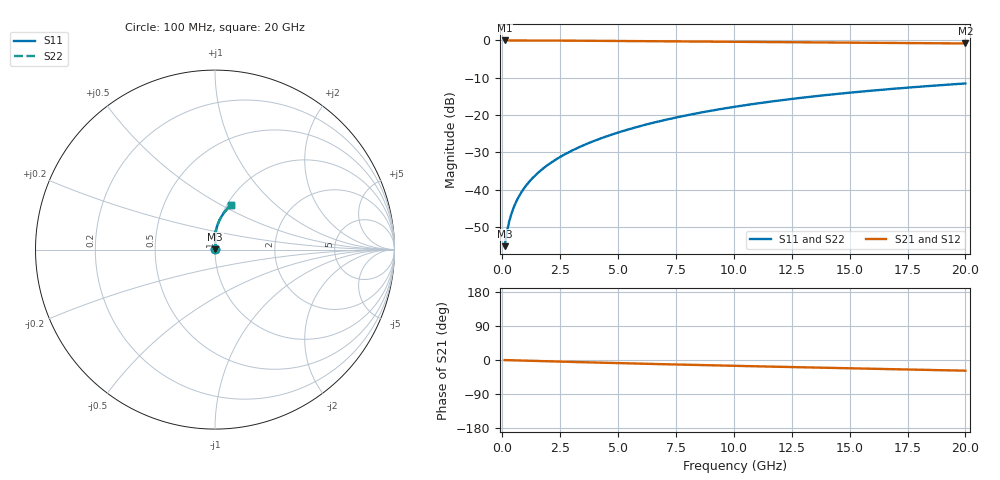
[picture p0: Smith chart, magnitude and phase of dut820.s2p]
! Touchstone file exported from HFSS 2024.1.0
!  File:  C:/UserFiles/LocalFiles/RDL_TSV_Batchsim/temp_RDL_top_820_1779854511.aedt
!  Generated:  12:04:00 PM May 27, 2026
!  Design:  RDL_top
!  Project:  temp_RDL_top_820_1779854511
!  Setup:  Setup1
!  Solution:  Sweep
! Variables:
!  dtsv = 10.80580581um
!  hbump = 3um
!  htsv = 68.57um
!  ldown = 100um
!  lrdl = 387.1um
!  p = 40
!  p1 = 55.92um
!  rhole = 1um
!  t = 450um
!  tdown = 3.915915916um
!  trdl = 4.8um
!  wdown = 15.38538539um
!  wrdl = 26.4um
# GHz S MA R 50.000000
! Terminal data exported
! Port[1] = Box2_T1
! Port[2] = Box2_T2
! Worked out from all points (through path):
!   200 points, 100 MHz to 20 GHz, reference 50 ohm
!   highest |S21| = -0.01 dB at 100 MHz (marker M1); lowest = -0.8 dB at 20 GHz (marker M2)
!   group delay of S21, straight-line fit = 3.85 ps
!   lowest |S11| = -55.2 dB at 100 MHz (marker M3), VSWR 1.00, Z = 50.1 + j0.12 ohm
!   |S11| at or under -10 dB: start of sweep to end of sweep
!   |S22| runs from -55.2 to -11.5 dB; largest |S21 - S12| = 3.4e-15
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0.1  0.00174 43.3  0.9987 -0.2  0.9987 -0.2  0.00174 43.3
! Gamma 0 0 0 0
! Port Impedance 50 0 50 0
0.2  0.002706 60.5  0.9986 -0.4  0.9986 -0.4  0.002706 60.5
0.3  0.003751 67.9  0.9985 -0.5  0.9985 -0.5  0.003751 67.9
0.4  0.004796 72.0  0.9984 -0.7  0.9984 -0.7  0.004796 72.0
0.5  0.005832 74.7  0.9982 -0.9  0.9982 -0.9  0.005832 74.7
0.7  0.007892 78.4  0.998 -1.2  0.998 -1.2  0.007892 78.4
1  0.011 81.8  0.9976 -1.7  0.9976 -1.7  0.011 81.8
1.4  0.01523 84.6  0.9968 -2.4  0.9968 -2.4  0.01523 84.6
1.7  0.01846 86.1  0.9961 -2.9  0.9961 -2.9  0.01846 86.1
2  0.02176 87.1  0.9953 -3.4  0.9953 -3.4  0.02176 87.1
2.7  0.02968 88.8  0.9931 -4.6  0.9931 -4.6  0.02968 88.8
3.5  0.03915 89.9  0.9899 -5.9  0.9899 -5.9  0.03915 89.9
4.2  0.04782 90.3  0.9868 -7.0  0.9868 -7.0  0.04782 90.3
5  0.05812 90.3  0.983 -8.2  0.983 -8.2  0.05812 90.3
5.9  0.07016 90.0  0.9785 -9.6  0.9785 -9.6  0.07015 90.0
6.8  0.08257 89.3  0.974 -10.9  0.974 -10.9  0.08256 89.3
8.4  0.1052 87.5  0.9659 -13.1  0.9659 -13.1  0.1052 87.5
10.1  0.1297 85.2  0.9575 -15.5  0.9575 -15.5  0.1297 85.1
11.7  0.1527 82.8  0.9497 -17.6  0.9497 -17.6  0.1527 82.7
13.4  0.1769 80.1  0.9416 -19.8  0.9416 -19.8  0.1768 80.1
16.7  0.2221 75.1  0.9259 -24.1  0.9259 -24.1  0.222 75.0
20  0.2646 70.2  0.91 -28.2  0.91 -28.2  0.2646 70.2
